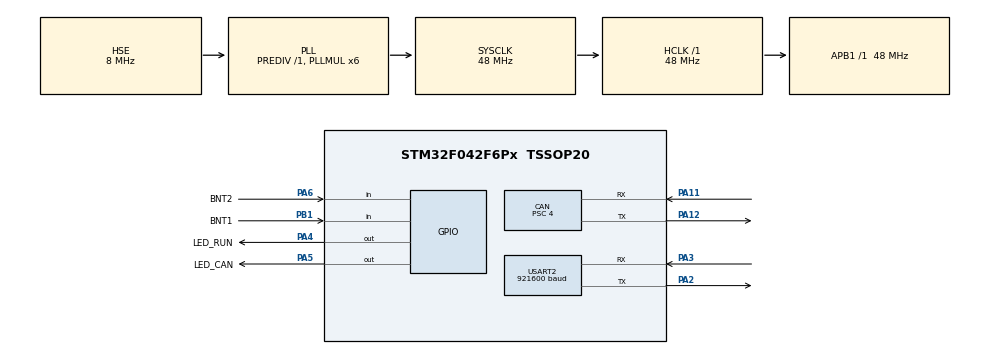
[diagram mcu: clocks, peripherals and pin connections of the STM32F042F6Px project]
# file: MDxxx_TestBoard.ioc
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CAN.ABOM=ENABLE
CAN.AWUM=ENABLE
CAN.BS1=CAN_BS1_8TQ
CAN.BS2=CAN_BS2_3TQ
CAN.CalculateTimeQuantum=83.33333333333333
CAN.NART=ENABLE
CAN.Prescaler=4
CAN.TXFP=ENABLE
Dma.Request0=USART2_RX
Dma.Request1=USART2_TX
Dma.USART2_RX.0.Direction=DMA_PERIPH_TO_MEMORY
Dma.USART2_RX.0.Instance=DMA1_Channel5
Dma.USART2_RX.0.MemDataAlignment=DMA_MDATAALIGN_BYTE
Dma.USART2_RX.0.MemInc=DMA_MINC_ENABLE
Dma.USART2_RX.0.Mode=DMA_CIRCULAR
Dma.USART2_RX.0.PeriphDataAlignment=DMA_PDATAALIGN_BYTE
Dma.USART2_RX.0.PeriphInc=DMA_PINC_DISABLE
Dma.USART2_RX.0.Priority=DMA_PRIORITY_LOW
Dma.USART2_TX.1.Direction=DMA_MEMORY_TO_PERIPH
Dma.USART2_TX.1.Instance=DMA1_Channel4
Dma.USART2_TX.1.MemDataAlignment=DMA_MDATAALIGN_BYTE
Dma.USART2_TX.1.MemInc=DMA_MINC_ENABLE
Dma.USART2_TX.1.Mode=DMA_NORMAL
Dma.USART2_TX.1.PeriphDataAlignment=DMA_PDATAALIGN_BYTE
Dma.USART2_TX.1.PeriphInc=DMA_PINC_DISABLE
Dma.USART2_TX.1.Priority=DMA_PRIORITY_LOW
Mcu.Family=STM32F0
Mcu.Name=STM32F042F6Px
Mcu.Package=TSSOP20
NVIC.CEC_CAN_IRQn=true\:0\:0\:false\:false\:true\:true\:true
NVIC.DMA1_Channel4_5_IRQn=true\:0\:0\:false\:false\:true\:false\:true
NVIC.TIM17_IRQn=true\:0\:0\:false\:false\:true\:true\:true
NVIC.USART2_IRQn=true\:0\:0\:false\:false\:true\:true\:true
PA11.Mode=Master
PA11.Signal=CAN_RX
PA12.Mode=Master
PA12.Signal=CAN_TX
PA13.Mode=Serial_Wire
PA13.Signal=SYS_SWDIO
PA14.Mode=Serial_Wire
PA14.Signal=SYS_SWCLK
PA2.Mode=Asynchronous
PA2.Signal=USART2_TX
PA3.Mode=Asynchronous
PA3.Signal=USART2_RX
PA4.GPIO_Label=LED_RUN
PA4.Signal=GPIO_Output
PA5.GPIO_Label=LED_CAN
PA5.Signal=GPIO_Output
PA6.GPIO_Label=BNT2
PA6.Signal=GPIO_Input
PB1.GPIO_Label=BNT1
PB1.Signal=GPIO_Input
PF0-OSC_IN.Mode=HSE-External-Oscillator
PF0-OSC_IN.Signal=RCC_OSC_IN
PF1-OSC_OUT.Mode=HSE-External-Oscillator
PF1-OSC_OUT.Signal=RCC_OSC_OUT
ProjectManager.HeapSize=0x200
ProjectManager.StackSize=0x400
ProjectManager.TargetToolchain=MDK-ARM V5
RCC.AHBFreq_Value=48000000
RCC.APB1Freq_Value=48000000
RCC.APB1TimFreq_Value=48000000
RCC.HCLKFreq_Value=48000000
RCC.PLLMUL=RCC_PLL_MUL6
RCC.PLLSourceVirtual=RCC_PLLSOURCE_HSE
RCC.SYSCLKFreq_VALUE=48000000
RCC.SYSCLKSource=RCC_SYSCLKSOURCE_PLLCLK
TIM17.Period=5000
TIM17.Prescaler=48-1
USART2.BaudRate=921600
USART2.VirtualMode-Asynchronous=VM_ASYNC
VP_SYS_VS_PINREMAP.Mode=PINREMAP
VP_TIM17_VS_ClockSourceINT.Mode=Enable_Timer
board=custom

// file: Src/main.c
/* USER CODE BEGIN Header */
/**
  ******************************************************************************
  * @file           : main.c
  * @brief          : Main program body
  ******************************************************************************
  * @attention
  *
  * <h2><center>&copy; Copyright (c) 2020 STMicroelectronics.
  * All rights reserved.</center></h2>
  *
  * This software component is licensed by ST under BSD 3-Clause license,
  * the "License"; You may not use this file except in compliance with the
  * License. You may obtain a copy of the License at:
  *                        opensource.org/licenses/BSD-3-Clause
  *
  ******************************************************************************
  */
/* USER CODE END Header */

#include "main.h"
#include "can.h"
#include "dma.h"
#include "tim.h"
#include "usart.h"
#include "gpio.h"

/* USER CODE BEGIN Includes */
#include "multi_button.h"
#include "button.h"
#include "led.h"
#include "can_comm.h"
#include "stdbool.h"
/* USER CODE END Includes */

/* USER CODE BEGIN PD */

uint8_t en_control = 0;

/* USER CODE END PD */

/* USER CODE BEGIN PV */
/* printf函数功能添加 */
#ifdef __GNUC__
  /* With GCC/RAISONANCE, small printf (option LD Linker->Libraries->Small printf
     set to 'Yes') calls __io_putchar() */
  #define PUTCHAR_PROTOTYPE int __io_putchar(int ch)
#else
  #define PUTCHAR_PROTOTYPE int fputc(int ch, FILE *f)
#endif /* __GNUC__ */
/**
  * @brief  Retargets the C library printf function to the USART.
  * @param  None
  * @retval None
  */
PUTCHAR_PROTOTYPE
{
  /* Place your implementation of fputc here */
  /* e.g. write a character to the EVAL_COM1 and Loop until the end of transmission */
  HAL_UART_Transmit(&huart2, (uint8_t *)&ch, 1, 0xFFFF);

  return ch;
}
/* printf函数功能实现 */
/* USER CODE END PV */

void SystemClock_Config(void);

/* USER CODE BEGIN 0 */
int8_t BNT1_state = -1;
int8_t BNT2_state = -1;

/* USER CODE END 0 */

int main(void)
{

  /* MCU Configuration--------------------------------------------------------*/

  /* Reset of all peripherals, Initializes the Flash interface and the Systick. */
  HAL_Init();

  /* Configure the system clock */
  SystemClock_Config();

  /* Initialize all configured peripherals */
  MX_GPIO_Init();
  MX_DMA_Init();
  MX_CAN_Init();
  MX_TIM17_Init();
  MX_USART2_UART_Init();
  /* USER CODE BEGIN 2 */

  Button_Init();
  CanComm_Init();
  HAL_TIM_Base_Start_IT(&htim17);

  /* USER CODE END 2 */

  /* Infinite loop */
  while (1)
  {

    /* USER CODE BEGIN 3 */
      LED_RUN();

      {
          uint8_t ch = 0x1B;
          BNT1_state = get_bnt1_state();    /**!< 校准按钮 */
          BNT2_state = get_bnt2_state();    /**!< 控制按钮 */

          if(BNT1_state == SINGLE_CLICK)
          {
              HAL_UART_Transmit(&huart2, (uint8_t *)&ch, 1, 0xFFFF);    /* 串口输出ESC */
              ch = 'c';
              HAL_UART_Transmit(&huart2, (uint8_t *)&ch, 1, 0xFFFF);    /* 输出校准字符 */
          }
          else
          {
              if(BNT2_state == DOUBLE_CLICK)
              {
                  /* 进入位置控制模式 */
                  HAL_UART_Transmit(&huart2, (uint8_t *)&ch, 1, 0xFFFF);    /* 串口输出ESC */
                  MotorControl_Start();
                  en_control = 1;            /* 使能控制 */
                  HAL_Delay(10);
              }else if(BNT2_state == LONG_RRESS_START)
              {
                  /* 电机匀速运动模式 */
                  HAL_UART_Transmit(&huart2, (uint8_t *)&ch, 1, 0xFFFF);    /* 串口输出ESC */
                  MotorControl_Start();
                  en_control = 2;            /* 使能控制 */
                  HAL_Delay(10);
              }
              else if(BNT2_state == SINGLE_CLICK)
              {
                  /* 停止电机转动 */
                  MotorControl_Stop();
                  HAL_Delay(100);
                  MotorControl_Stop();
                  HAL_Delay(100);
                  en_control = 0;
              }
          }
      }

      if(en_control != 0)
      {
          LED_CAN();                /**!< CAN通信LED灯闪烁 */
          if(en_control == 1)
          {
              /* 进入电机位置控制 */
              en_control = MotorControl_PositionHandler();
          }
          else if(en_control == 2)
          {
              /* 进入电机匀速控制模式 */
              MotorControl_velocityHandler();
          }
      }
      else
      {
          HAL_GPIO_WritePin(LED_CAN_GPIO_Port, LED_CAN_Pin, GPIO_PIN_RESET);    /**!< 关闭LED灯闪烁 */
      }
  }
  /* USER CODE END 3 */
}

void SystemClock_Config(void)
{
  RCC_OscInitTypeDef RCC_OscInitStruct = {0};
  RCC_ClkInitTypeDef RCC_ClkInitStruct = {0};

  /** Initializes the CPU, AHB and APB busses clocks
  */
  RCC_OscInitStruct.OscillatorType = RCC_OSCILLATORTYPE_HSE;
  RCC_OscInitStruct.HSEState = RCC_HSE_ON;
  RCC_OscInitStruct.PLL.PLLState = RCC_PLL_ON;
  RCC_OscInitStruct.PLL.PLLSource = RCC_PLLSOURCE_HSE;
  RCC_OscInitStruct.PLL.PLLMUL = RCC_PLL_MUL6;
  RCC_OscInitStruct.PLL.PREDIV = RCC_PREDIV_DIV1;
  if (HAL_RCC_OscConfig(&RCC_OscInitStruct) != HAL_OK)
  {
    Error_Handler();
  }
  /** Initializes the CPU, AHB and APB busses clocks
  */
  RCC_ClkInitStruct.ClockType = RCC_CLOCKTYPE_HCLK|RCC_CLOCKTYPE_SYSCLK
                              |RCC_CLOCKTYPE_PCLK1;
  RCC_ClkInitStruct.SYSCLKSource = RCC_SYSCLKSOURCE_PLLCLK;
  RCC_ClkInitStruct.AHBCLKDivider = RCC_SYSCLK_DIV1;
  RCC_ClkInitStruct.APB1CLKDivider = RCC_HCLK_DIV1;

  if (HAL_RCC_ClockConfig(&RCC_ClkInitStruct, FLASH_LATENCY_1) != HAL_OK)
  {
    Error_Handler();
  }
}

void Error_Handler(void)
{
}

/************************ (C) COPYRIGHT STMicroelectronics *****END OF FILE****/
